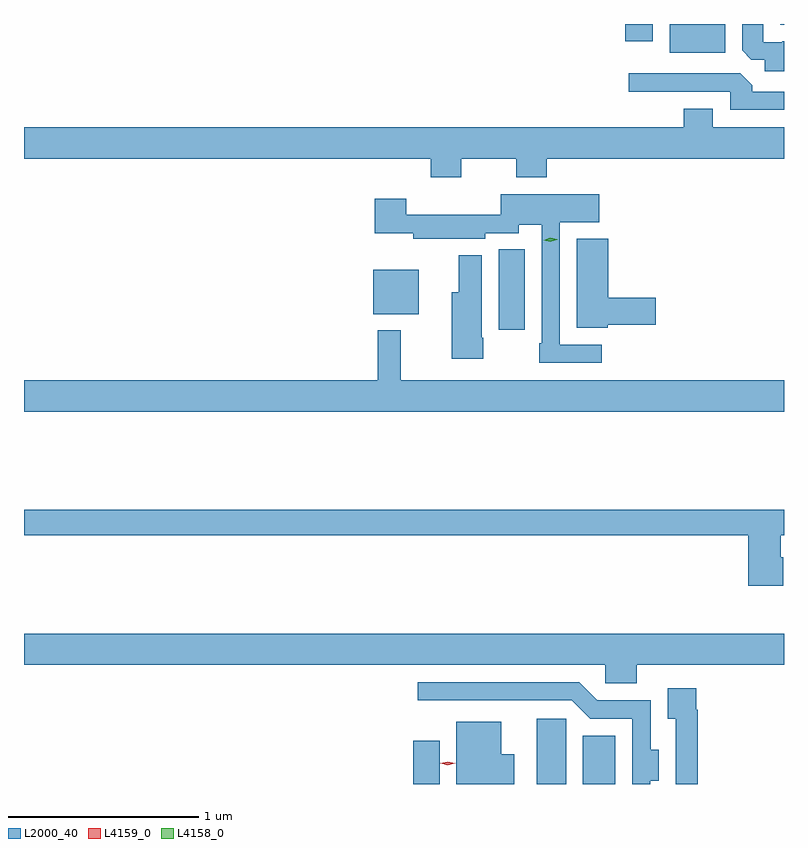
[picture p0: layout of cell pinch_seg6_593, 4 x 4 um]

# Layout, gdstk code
import gdstk
lib = gdstk.Library(unit=1e-6, precision=1e-09)
def R(c, l, rs):  # rectangles x0, y0, x1, y1
    for r in rs: c.add(gdstk.rectangle(r[:2], r[2:], *l))
def P(c, l, *ps):  # polygons
    for p in ps: c.add(gdstk.Polygon(p, *l))
L2000_40 = (2000, 40)
L4158_0 = (4158, 0)
L4159_0 = (4159, 0)

pinch_seg6_593 = lib.new_cell('pinch_seg6_593')
R(pinch_seg6_593, L2000_40, [(388.01,989.332,388.15,989.56), (388.661,989.332,388.816,989.676), (388.904,989.332,389.074,989.587), (388.46,991.722,388.597,992.147), (387.8,991.805,388.039,992.038), (389.36,993.182,389.653,993.332), (389.126,993.24,389.272,993.332), (389.942,993.329,389.962,993.332)])
P(pinch_seg6_593, L2000_40, [(389.962,993.241),(389.953,993.241),(389.953,993.237),(389.853,993.237),(389.853,993.332),(389.741,993.332),(389.741,993.193),(389.79,993.144),(389.861,993.144),(389.861,993.083),(389.962,993.083)],
  [(389.962,992.976),(389.795,992.976),(389.795,993.01),(389.733,993.072),(389.145,993.072),(389.145,992.976),(389.679,992.976),(389.679,992.88),(389.962,992.88)],
  [(389.962,992.788),(389.587,992.788),(389.587,992.887),(389.435,992.887),(389.435,992.788),(385.962,992.788),(385.962,992.624),(388.103,992.624),(388.103,992.525),(388.263,992.525),(388.263,992.624),(388.552,992.624),(388.552,992.525),(388.712,992.525),(388.712,992.624),(389.962,992.624)],
  [(389.002,991.644),(388.782,991.644),(388.782,992.288),(388.99,992.288),(388.99,992.437),(388.47,992.437),(388.47,992.329),(387.974,992.329),(387.974,992.413),(387.809,992.413),(387.809,992.231),(388.01,992.231),(388.01,992.201),(388.39,992.201),(388.39,992.232),(388.566,992.232),(388.566,992.276),(388.686,992.276),(388.686,991.651),(388.674,991.651),(388.674,991.548),(389.002,991.548)],
  [(389.034,991.75),(389.287,991.75),(389.287,991.892),(389.038,991.892),(389.038,992.203),(388.871,992.203),(388.871,991.733),(389.034,991.733)],
  [(388.38,991.681),(388.372,991.681),(388.372,992.116),(388.25,992.116),(388.25,991.921),(388.214,991.921),(388.214,991.569),(388.38,991.569)],
  [(389.962,991.456),(387.944,991.456),(387.944,991.72),(387.823,991.72),(387.823,991.456),(385.962,991.456),(385.962,991.292),(389.962,991.292)],
  [(389.957,990.525),(389.944,990.525),(389.944,990.64),(389.962,990.64),(389.962,990.776),(385.962,990.776),(385.962,990.64),(389.774,990.64),(389.774,990.375),(389.957,990.375)],
  [(389.186,989.96),(389.962,989.96),(389.962,990.124),(385.962,990.124),(385.962,989.96),(389.022,989.96),(389.022,989.862),(389.186,989.862)],
  [(389.259,989.348),(389.302,989.348),(389.302,989.512),(389.26,989.512),(389.26,989.772),(388.98,989.772),(388.884,989.868),(388.035,989.868),(388.035,989.772),(388.845,989.772),(388.941,989.676),(389.163,989.676),(389.163,989.332),(389.259,989.332)],
  [(389.507,989.723),(389.5,989.723),(389.5,989.836),(389.351,989.836),(389.351,989.675),(389.391,989.675),(389.391,989.332),(389.507,989.332)],
  [(388.543,989.488),(388.474,989.488),(388.474,989.659),(388.238,989.659),(388.238,989.332),(388.543,989.332)])
P(pinch_seg6_593, L4158_0, [(388.733,992.186),(388.698,992.195),(388.698,992.195),(388.698,992.195),(388.733,992.206),(388.768,992.198),(388.768,992.197),(388.768,992.197)])
P(pinch_seg6_593, L4159_0, [(388.193,989.43),(388.153,989.44),(388.153,989.44),(388.153,989.441),(388.193,989.45),(388.232,989.441),(388.233,989.44),(388.232,989.44)])

lib.write_gds('pinch_seg6_593.gds')
